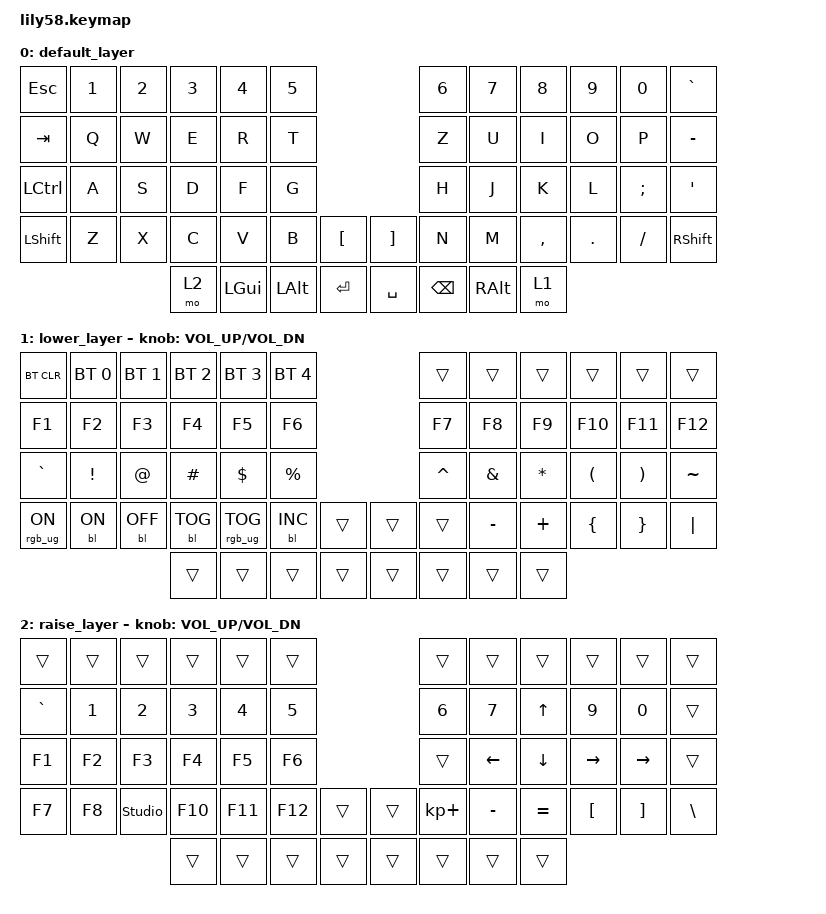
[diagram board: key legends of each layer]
/*
 * Copyright (c) 2020 The ZMK Contributors
 *
 * SPDX-License-Identifier: MIT
 */

#include <behaviors.dtsi>
#include <dt-bindings/zmk/backlight.h>
#include <dt-bindings/zmk/bt.h>
#include <dt-bindings/zmk/keys.h>
#include <dt-bindings/zmk/rgb.h>

&led_strip { chain-length = <35>; };

/ {
    keymap {
        compatible = "zmk,keymap";

        default_layer {
            // ------------------------------------------------------------------------------------------------------------
            // |  ESC  |  1  |  2  |  3   |  4   |  5   |                   |  6   |  7    |  8    |  9   |   0   |   `   |
            // |  TAB  |  Q  |  W  |  E   |  R   |  T   |                   |  Y   |  U    |  I    |  O   |   P   |   -   |
            // |  CTRL |  A  |  S  |  D   |  F   |  G   |                   |  H   |  J    |  K    |  L   |   ;   |   '   |
            // | SHIFT |  Z  |  X  |  C   |  V   |  B   |   "["  |  |  "]"  |  N   |  M    |  ,    |  .   |   /   | SHIFT |
            //                     | ALT  | GUI  | LOWER|  SPACE |  | ENTER | RAISE| BSPC  | GUI   |

            bindings = <
&kp ESC    &kp N1  &kp N2  &kp N3  &kp N4    &kp N5                            &kp N6         &kp N7    &kp N8     &kp N9   &kp N0    &kp GRAVE
&kp TAB    &kp Q   &kp W   &kp E   &kp R     &kp T                             &kp Z          &kp U     &kp I      &kp O    &kp P     &kp MINUS
&kp LCTRL  &kp A   &kp S   &kp D   &kp F     &kp G                             &kp H          &kp J     &kp K      &kp L    &kp SEMI  &kp SQT
&kp LSHFT  &kp Z   &kp X   &kp C   &kp V     &kp B     &kp LBKT     &kp RBKT   &kp N          &kp M     &kp COMMA  &kp DOT  &kp FSLH  &kp RSHFT
                           &mo 2   &kp LGUI  &kp LALT  &kp ENTER    &kp SPACE  &kp BACKSPACE  &kp RALT  &mo 1
            >;
        };

        lower_layer {
            // ------------------------------------------------------------------------------------------------------------
            // | BTCLR | BT1 | BT2 |  BT3 |  BT4 |  BT5 |                   |      |       |       |      |       |       |
            // |  F1   |  F2 |  F3 |  F4  |  F5  |  F6  |                   |  F7  |  F8   |  F9   |  F10 |  F11  |  F12  |
            // |   `   |  !  |  @  |  #   |  $   |  %   |                   |  ^   |  &    |  *    |  (   |   )   |   ~   |
            // |       |     |     |      |      |      |        |  |       |      |  _    |  +    |  {   |   }   |  "|"  |
            //                     |      |      |      |        |  |       |      |       |       |

            bindings = <
&bt BT_CLR      &bt BT_SEL 0  &bt BT_SEL 1  &bt BT_SEL 2  &bt BT_SEL 3     &bt BT_SEL 4                    &trans     &trans     &trans     &trans    &trans    &trans
&kp F1          &kp F2        &kp F3        &kp F4        &kp F5           &kp F6                          &kp F7     &kp F8     &kp F9     &kp F10   &kp F11   &kp F12
&kp GRAVE       &kp EXCL      &kp AT        &kp HASH      &kp DOLLAR       &kp PRCNT                       &kp CARET  &kp AMPS   &kp ASTRK  &kp LPAR  &kp RPAR  &kp TILDE
&rgb_ug RGB_ON  &bl BL_ON     &bl BL_OFF    &bl BL_TOG    &rgb_ug RGB_TOG  &bl BL_INC    &trans    &trans  &trans     &kp MINUS  &kp PLUS   &kp LBRC  &kp RBRC  &kp PIPE
                                            &trans        &trans           &trans        &trans    &trans  &trans     &trans     &trans
            >;

            sensor-bindings = <&inc_dec_kp C_VOL_UP C_VOL_DN>;
        };

        raise_layer {
            // ------------------------------------------------------------------------------------------------------------
            // |       |     |     |      |      |      |                   |      |       |       |      |       |       |
            // |   `   |  1  |  2  |  3   |  4   |  5   |                   |  6   |   7   |   8   |  9   |   0   |       |
            // |   F1  |  F2 |  F3 |  F4  |  F5  |  F6  |                   |      |   <-  |   v   |  ^   |  ->   |       |
            // |   F7  |  F8 |  F9 |  F10 |  F11 |  F12 |        |  |       |  +   |   -   |   =   |  [   |   ]   |   \   |
            //                     |      |      |      |        |  |       |      |       |       |

            bindings = <
&trans     &trans  &trans          &trans   &trans   &trans                     &trans       &trans     &trans        &trans           &trans     &trans
&kp GRAVE  &kp N1  &kp N2          &kp N3   &kp N4   &kp N5                     &kp N6       &kp N7     &kp UP_ARROW  &kp N9           &kp N0     &trans
&kp F1     &kp F2  &kp F3          &kp F4   &kp F5   &kp F6                     &trans       &kp LEFT   &kp DOWN      &kp RIGHT_ARROW  &kp RIGHT  &trans
&kp F7     &kp F8  &studio_unlock  &kp F10  &kp F11  &kp F12  &trans    &trans  &kp KP_PLUS  &kp MINUS  &kp EQUAL     &kp LBKT         &kp RBKT   &kp BSLH
                                   &trans   &trans   &trans   &trans    &trans  &trans       &trans     &trans
            >;

            sensor-bindings = <&inc_dec_kp C_VOL_UP C_VOL_DN>;
        };

        extra_layer_1 { status = "reserved"; };

        extra_layer_2 { status = "reserved"; };

        extra_layer_3 { status = "reserved"; };

        extra_layer_4 { status = "reserved"; };
    };
};
